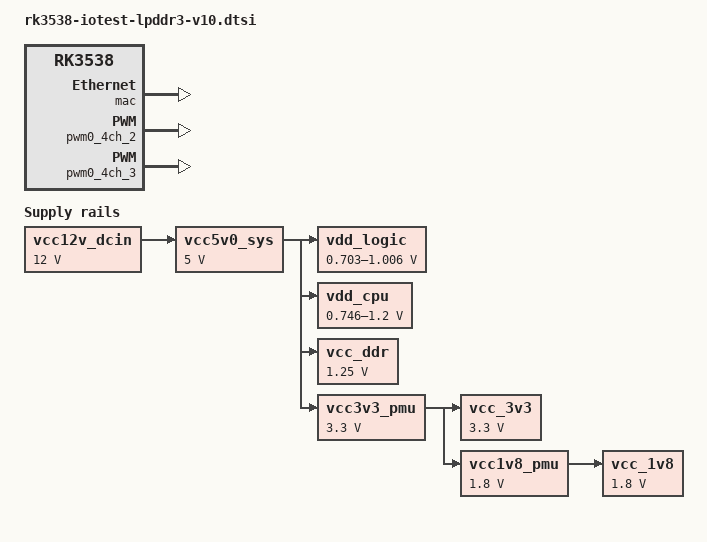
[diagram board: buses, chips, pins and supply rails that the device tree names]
// SPDX-License-Identifier: (GPL-2.0+ OR MIT)
/*
 * Copyright (c) 2025 Rockchip Electronics Co., Ltd.
 *
 */

/dts-v1/;

#include "rk3538.dtsi"
#include "rk3538-evb.dtsi"

/{
	vcc12v_dcin: vcc12v-dcin {
		compatible = "regulator-fixed";
		regulator-name = "vcc12v_dcin";
		regulator-always-on;
		regulator-boot-on;
		regulator-min-microvolt = <12000000>;
		regulator-max-microvolt = <12000000>;
	};

	vcc5v0_sys: vcc5v0-sys {
		compatible = "regulator-fixed";
		regulator-name = "vcc5v0_sys";
		regulator-always-on;
		regulator-boot-on;
		regulator-min-microvolt = <5000000>;
		regulator-max-microvolt = <5000000>;
		vin-supply = <&vcc12v_dcin>;
	};

	vdd_logic: vdd-logc {
		compatible = "pwm-regulator";
		pwms = <&pwm0_4ch_2 0 25000 1>;
		regulator-name = "vdd_logic";
		regulator-init-microvolt = <901000>;
		regulator-min-microvolt = <703000>;
		regulator-max-microvolt = <1006000>;
		regulator-settling-time-up-us = <250>;
		regulator-always-on;
		regulator-boot-on;
		pwm-supply = <&vcc5v0_sys>;
	};

	vdd_cpu: vdd-cpu {
		compatible = "pwm-regulator";
		pwms = <&pwm0_4ch_3 0 25000 1>;
		regulator-name = "vdd_cpu";
		regulator-init-microvolt = <953000>;
		regulator-min-microvolt = <746000>;
		regulator-max-microvolt = <1200000>;
		regulator-settling-time-up-us = <250>;
		regulator-always-on;
		regulator-boot-on;
		pwm-supply = <&vcc5v0_sys>;
	};

	vcc_ddr: vcc-ddr {
		compatible = "regulator-fixed";
		regulator-name = "vcc_ddr";
		regulator-min-microvolt = <1250000>;
		regulator-max-microvolt = <1250000>;
		enable-active-low;
		regulator-boot-on;
		vin-supply = <&vcc5v0_sys>;
	};

	vcc3v3_pmu: vcc3v3-pmu {
		compatible = "regulator-fixed";
		regulator-name = "vcc3v3_pmu";
		regulator-min-microvolt = <3300000>;
		regulator-max-microvolt = <3300000>;
		enable-active-low;
		regulator-boot-on;
		vin-supply = <&vcc5v0_sys>;
	};

	vcc_3v3: vcc_3v3 {
		compatible = "regulator-fixed";
		regulator-name = "vcc_3v3";
		regulator-min-microvolt = <3300000>;
		regulator-max-microvolt = <3300000>;
		enable-active-low;
		regulator-boot-on;
		vin-supply = <&vcc3v3_pmu>;
	};

	vcc1v8_pmu: vcc1v8-pmu {
		compatible = "regulator-fixed";
		regulator-name = "vcc1v8_pmu";
		regulator-min-microvolt = <1800000>;
		regulator-max-microvolt = <1800000>;
		enable-active-low;
		regulator-boot-on;
		vin-supply = <&vcc3v3_pmu>;
	};

	vcc_1v8: vcc-1v8 {
		compatible = "regulator-fixed";
		regulator-name = "vcc_1v8";
		regulator-min-microvolt = <1800000>;
		regulator-max-microvolt = <1800000>;
		enable-active-low;
		regulator-boot-on;
		vin-supply = <&vcc1v8_pmu>;
	};
};

&cpu0 {
	cpu-supply = <&vdd_cpu>;
};

&cpu2 {
	cpu-supply = <&vdd_cpu>;
};

&gpu {
	mali-supply = <&vdd_logic>;
};

&mac {
	status = "okay";
};

&pwm0_4ch_2 {
	status = "okay";
};

&pwm0_4ch_3 {
	pinctrl-0 = <&pwm0m1_ch3_pins>;
	status = "okay";
};
